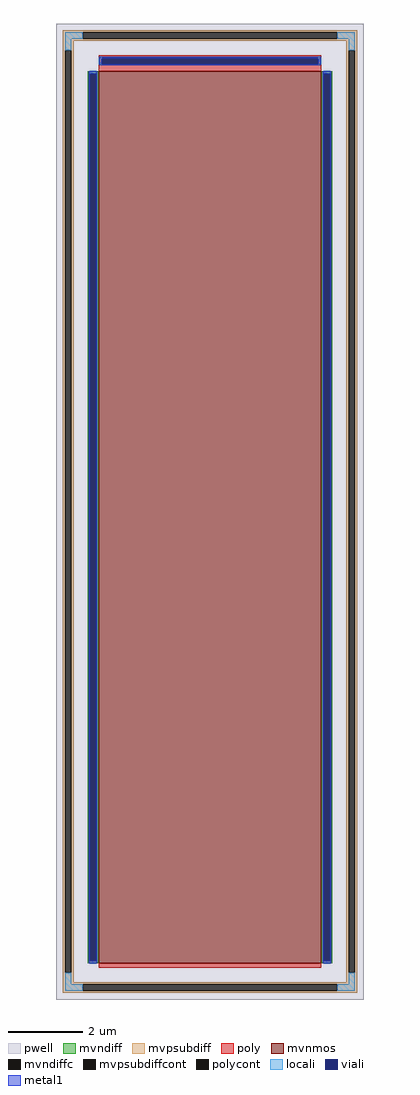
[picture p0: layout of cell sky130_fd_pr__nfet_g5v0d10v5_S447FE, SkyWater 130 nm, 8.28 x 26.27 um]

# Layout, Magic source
magic
tech sky130B
magscale 1 2
<< pwell >>
rect -828 -2627 828 2627
<< mvnmos >>
rect -600 -2431 600 2369
<< mvndiff >>
rect -658 2357 -600 2369
rect -658 -2419 -646 2357
rect -612 -2419 -600 2357
rect -658 -2431 -600 -2419
rect 600 2357 658 2369
rect 600 -2419 612 2357
rect 646 -2419 658 2357
rect 600 -2431 658 -2419
<< mvndiffc >>
rect -646 -2419 -612 2357
rect 612 -2419 646 2357
<< mvpsubdiff >>
rect -792 2579 792 2591
rect -792 2545 -684 2579
rect 684 2545 792 2579
rect -792 2533 792 2545
rect -792 2483 -734 2533
rect -792 -2483 -780 2483
rect -746 -2483 -734 2483
rect 734 2483 792 2533
rect -792 -2533 -734 -2483
rect 734 -2483 746 2483
rect 780 -2483 792 2483
rect 734 -2533 792 -2483
rect -792 -2545 792 -2533
rect -792 -2579 -684 -2545
rect 684 -2579 792 -2545
rect -792 -2591 792 -2579
<< mvpsubdiffcont >>
rect -684 2545 684 2579
rect -780 -2483 -746 2483
rect 746 -2483 780 2483
rect -684 -2579 684 -2545
<< poly >>
rect -600 2441 600 2457
rect -600 2407 -584 2441
rect 584 2407 600 2441
rect -600 2369 600 2407
rect -600 -2457 600 -2431
<< polycont >>
rect -584 2407 584 2441
<< locali >>
rect -780 2545 -684 2579
rect 684 2545 780 2579
rect -780 2483 -746 2545
rect 746 2483 780 2545
rect -600 2407 -584 2441
rect 584 2407 600 2441
rect -646 2357 -612 2373
rect -646 -2435 -612 -2419
rect 612 2357 646 2373
rect 612 -2435 646 -2419
rect -780 -2545 -746 -2483
rect 746 -2545 780 -2483
rect -780 -2579 -684 -2545
rect 684 -2579 780 -2545
<< viali >>
rect -584 2407 584 2441
rect -646 -2419 -612 2357
rect 612 -2419 646 2357
<< metal1 >>
rect -596 2441 596 2447
rect -596 2407 -584 2441
rect 584 2407 596 2441
rect -596 2401 596 2407
rect -652 2357 -606 2369
rect -652 -2419 -646 2357
rect -612 -2419 -606 2357
rect -652 -2431 -606 -2419
rect 606 2357 652 2369
rect 606 -2419 612 2357
rect 646 -2419 652 2357
rect 606 -2431 652 -2419
<< properties >>
string FIXED_BBOX -763 -2562 763 2562
string gencell sky130_fd_pr__nfet_g5v0d10v5
string library sky130
string parameters w 24.0 l 6.0 m 1 nf 1 diffcov 100 polycov 100 guard 1 glc 1 grc 1 gtc 1 gbc 1 tbcov 100 rlcov 100 topc 1 botc 0 poverlap 0 doverlap 1 lmin 0.50 wmin 0.42 compatible {sky130_fd_pr__nfet_01v8 sky130_fd_pr__nfet_01v8_lvt  sky130_fd_bs_flash__special_sonosfet_star  sky130_fd_pr__nfet_g5v0d10v5 sky130_fd_pr__nfet_05v0_nvt  sky130_fd_pr__nfet_03v3_nvt} full_metal 1 viasrc 100 viadrn 100 viagate 100 viagb 0 viagr 0 viagl 0 viagt 0
<< end >>
